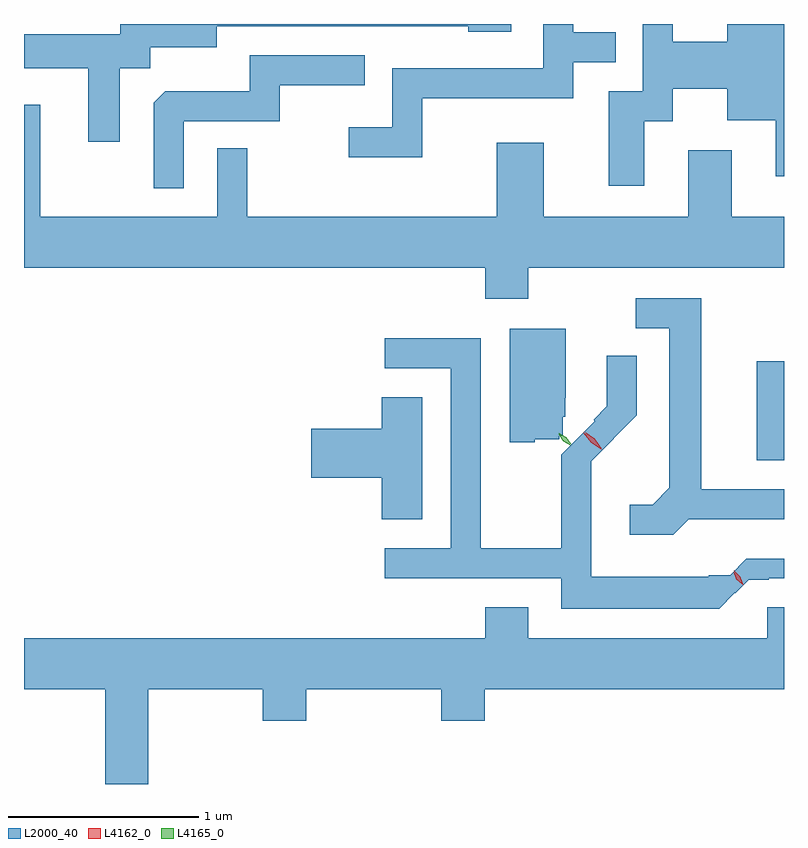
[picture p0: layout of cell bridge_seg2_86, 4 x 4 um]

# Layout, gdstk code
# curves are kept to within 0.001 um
import gdstk
lib = gdstk.Library(unit=1e-6, precision=1e-09)
def R(c, l, rs):  # rectangles x0, y0, x1, y1
    for r in rs: c.add(gdstk.rectangle(r[:2], r[2:], *l))
def P(c, l, *ps):  # polygons
    for p in ps: c.add(gdstk.Polygon(p, *l))
L2000_40 = (2000, 40)
L4162_0 = (4162, 0)
L4165_0 = (4165, 0)

bridge_seg2_86 = lib.new_cell('bridge_seg2_86')
R(bridge_seg2_86, L2000_40, [(1222.931,1076.161,1223.074,1076.684)])
P(bridge_seg2_86, L2000_40, [(1219.579,1078.226),(1219.739,1078.226),(1219.739,1078.336),(1220.089,1078.336),(1220.089,1078.446),(1221.411,1078.446),(1221.411,1078.416),(1221.639,1078.416),(1221.639,1078.458),(1219.581,1078.458),(1219.581,1078.404),(1219.074,1078.404),(1219.074,1078.226),(1219.411,1078.226),(1219.411,1077.838),(1219.579,1077.838)],
  [(1222.339,1077.946),(1222.489,1077.946),(1222.489,1078.116),(1222.776,1078.116),(1222.776,1077.951),(1223.031,1077.951),(1223.031,1077.656),(1223.074,1077.656),(1223.074,1078.458),(1222.776,1078.458),(1222.776,1078.364),(1222.489,1078.364),(1222.489,1078.458),(1222.331,1078.458),(1222.331,1078.104),(1222.151,1078.104),(1222.151,1077.606),(1222.339,1077.606)],
  [(1221.169,1078.066),(1221.964,1078.066),(1221.964,1078.256),(1222.188,1078.256),(1222.188,1078.414),(1221.964,1078.414),(1221.964,1078.458),(1221.806,1078.458),(1221.806,1078.224),(1221.011,1078.224),(1221.011,1077.914),(1220.783,1077.914),(1220.783,1077.756),(1221.169,1077.756)],
  [(1219.914,1077.946),(1220.419,1077.946),(1220.419,1078.136),(1220.868,1078.136),(1220.868,1078.294),(1220.261,1078.294),(1220.261,1078.104),(1219.817,1078.104),(1219.756,1078.044),(1219.756,1077.593),(1219.914,1077.593)],
  [(1221.729,1077.176),(1223.074,1077.176),(1223.074,1077.444),(1222.799,1077.444),(1222.799,1077.794),(1222.571,1077.794),(1222.571,1077.444),(1221.809,1077.444),(1221.809,1077.834),(1221.561,1077.834),(1221.561,1077.444),(1220.249,1077.444),(1220.249,1077.803),(1220.091,1077.803),(1220.091,1077.444),(1219.159,1077.444),(1219.159,1078.034),(1219.074,1078.034),(1219.074,1077.176),(1221.501,1077.176),(1221.501,1077.011),(1221.729,1077.011)],
  [(1222.572,1075.851),(1223.074,1075.851),(1223.074,1076.009),(1222.639,1076.009),(1222.639,1077.014),(1222.293,1077.014),(1222.293,1076.856),(1222.471,1076.856),(1222.471,1076.017),(1222.384,1075.929),(1222.263,1075.929),(1222.263,1075.771),(1222.492,1075.771)],
  [(1221.763,1076.273),(1221.89,1076.273),(1221.89,1076.29),(1221.91,1076.29),(1221.91,1076.39),(1221.923,1076.39),(1221.923,1076.49),(1221.924,1076.49),(1221.924,1076.854),(1221.631,1076.854),(1221.631,1076.256),(1221.763,1076.256)],
  [(1222.816,1075.464),(1222.818,1075.463),(1222.889,1075.534),(1222.995,1075.534),(1222.995,1075.541),(1223.074,1075.541),(1223.074,1075.644),(1222.876,1075.644),(1222.79,1075.558),(1222.677,1075.558),(1222.677,1075.549),(1222.059,1075.549),(1222.059,1076.158),(1222.299,1076.398),(1222.299,1076.713),(1222.141,1076.713),(1222.141,1076.445),(1222.072,1076.375),(1222.079,1076.368),(1221.902,1076.192),(1221.901,1075.699),(1221.479,1075.699),(1221.479,1076.804),(1220.973,1076.804),(1220.973,1076.646),(1221.321,1076.646),(1221.321,1075.699),(1220.973,1075.699),(1220.973,1075.541),(1221.901,1075.541),(1221.901,1075.381),(1222.733,1075.381)],
  [(1221.169,1076.494),(1220.956,1076.494),(1220.956,1076.329),(1220.586,1076.329),(1220.586,1076.071),(1220.956,1076.071),(1220.956,1075.851),(1221.169,1075.851)],
  [(1219.729,1074.956),(1220.331,1074.956),(1220.331,1074.791),(1220.559,1074.791),(1220.559,1074.956),(1221.271,1074.956),(1221.271,1074.791),(1221.499,1074.791),(1221.499,1074.956),(1223.074,1074.956),(1223.074,1075.389),(1222.986,1075.389),(1222.986,1075.224),(1221.729,1075.224),(1221.729,1075.389),(1221.501,1075.389),(1221.501,1075.224),(1219.074,1075.224),(1219.074,1074.956),(1219.501,1074.956),(1219.501,1074.458),(1219.729,1074.458)])
P(bridge_seg2_86, L4162_0, [(1222.86,1075.505),(1222.859,1075.506),(1222.827,1075.538),(1222.811,1075.581),(1222.811,1075.582),(1222.812,1075.581),(1222.844,1075.549),(1222.86,1075.506)],
  [(1222.114,1076.216),(1222.06,1076.255),(1222.018,1076.308),(1222.018,1076.308),(1222.019,1076.308),(1222.073,1076.269),(1222.115,1076.216),(1222.115,1076.216)],
  [(1222.853,1075.509),(1222.823,1075.535),(1222.809,1075.572),(1222.809,1075.573),(1222.81,1075.572),(1222.84,1075.546),(1222.854,1075.51),(1222.854,1075.509)],
  [(1222.115,1076.222),(1222.064,1076.26),(1222.026,1076.311),(1222.026,1076.312),(1222.026,1076.312),(1222.078,1076.274),(1222.116,1076.222),(1222.116,1076.222)])
P(bridge_seg2_86, L4165_0, [(1221.954,1076.246),(1221.916,1076.268),(1221.889,1076.304),(1221.889,1076.305),(1221.89,1076.305),(1221.929,1076.283),(1221.955,1076.247),(1221.955,1076.246)],
  [(1221.948,1076.242),(1221.911,1076.263),(1221.888,1076.298),(1221.888,1076.298),(1221.888,1076.298),(1221.925,1076.277),(1221.948,1076.243),(1221.948,1076.242)])

lib.write_gds('bridge_seg2_86.gds')
